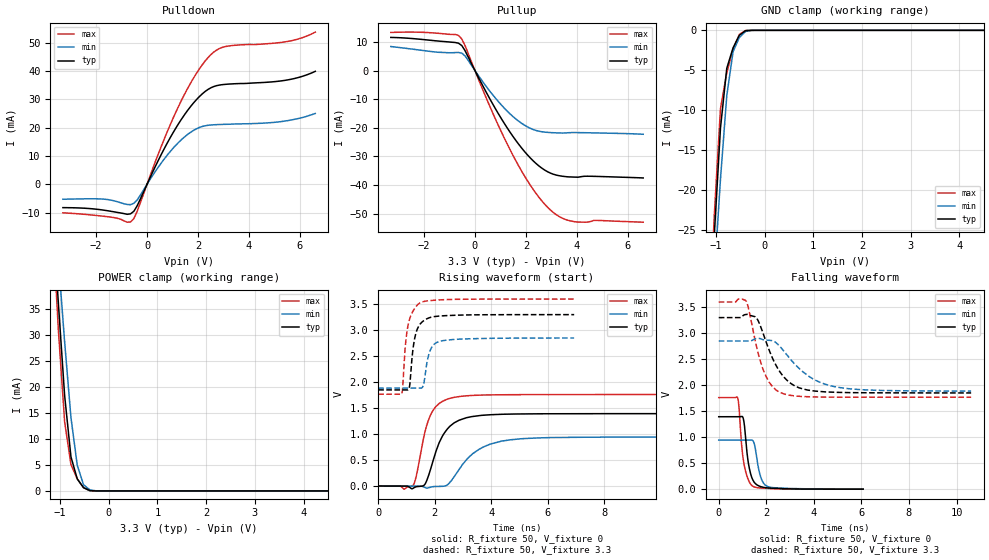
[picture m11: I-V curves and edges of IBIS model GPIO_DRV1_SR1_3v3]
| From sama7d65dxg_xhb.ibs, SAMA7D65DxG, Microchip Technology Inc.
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|   Model   GPIO_DRV1_SR1
[Model] GPIO_DRV1_SR1_3v3
Model_type I/O
Enable   Active-High
Vinl  =  1.08
Vinh  =  2.52
Vmeas =  1.800
| Capacitance   typ   min   max
C_comp   2.365439704312885e-12   2.34132786340745e-12   2.40519177882399e-12
[Model Spec]
| Subparameter   typ   min   max
Vinl   0.99   0.855   1.08
Vinh   2.31   1.995   2.52
Vmeas   1.65   1.425   1.8
| Variables   typ   min   max
[GND Clamp Reference]   0   0   0
[POWER Clamp Reference]   3.3   2.85   3.6
[Pulldown Reference]   0   0   0
[Pullup Reference]   3.3   2.85   3.6
[Temperature Range]   25   125   -40
[Voltage Range]   3.3   2.85   3.6
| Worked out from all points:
|   slope of the pulldown table from 0 to 0.495 V, typ, clamps not added: 52.6 ohm
|   slope of the pullup table from 0 to 0.495 V, typ, clamps not added: 58.6 ohm
|   GND clamp passes 1 mA (typ) near -0.55 V on its own axis
|   POWER clamp passes 1 mA (typ) near -0.55 V on its own axis
|   falling waveform, R_fixture 50, V_fixture 0: 20-80 % time 245ps typ, 252ps min, 247ps max; typ from 1.39 V to 0.001 V
|   falling waveform, R_fixture 50, V_fixture 3.3: 20-80 % time 915ps typ, 1.4ns min, 664ps max; typ from 3.3 V to 1.85 V
|   rising waveform, R_fixture 50, V_fixture 0: 20-80 % time 646ps typ, 1.04ns min, 482ps max; typ from 0 V to 1.39 V
|   rising waveform, R_fixture 50, V_fixture 3.3: 20-80 % time 227ps typ, 233ps min, 230ps max; typ from 1.85 V to 3.3 V
[GND Clamp]
| Voltage   I(typ)   I(min)   I(max)
-3.3V     -323.8mA   -277.9mA   -372.9mA
-1.164V   -41.47mA   -44.36mA   -41.44mA
-1.034V   -25.94mA   -31.12mA   -23.44mA
-905.2mV  -12.24mA   -18.67mA   -9.813mA
-775.9mV  -4.764mA   -8.198mA   -5.313mA
-646.6mV  -2.193mA   -2.686mA   -2.377mA
-517.2mV  -609.3uA   -885.9uA   -510.1uA
-387.9mV  -37.09uA   -132.5uA   -13.31uA
-129.3mV  169.8nA    -151.4nA   203.8nA
6.6V      0A         0A         0A
[POWER Clamp]
| Voltage   I(typ)   I(min)   I(max)
-3.3V     410mA      356.5mA    463.7mA
-1.164V   55.93mA    61.45mA    53.4mA
-1.034V   36.24mA    44.69mA    31.11mA
-905.2mV  18.36mA    28.7mA     13.31mA
-775.9mV  6.594mA    14.19mA    5.101mA
-646.6mV  2.317mA    4.963mA    2.328mA
-517.2mV  639.6uA    1.185mA    604.9uA
-387.9mV  64.43uA    205.8uA    31.75uA
-129.3mV  210.5nA    1.029uA    227.8nA
6.6V      0A         0A         0A
[Pulldown]
| Voltage   I(typ)   I(min)   I(max)
-3.3V     -8.229mA   -5.269mA   -10.06mA
-1.681V   -9.138mA   -5.242mA   -11.29mA
-646.6mV  -10.42mA   -7.174mA   -13.28mA
-517.2mV  -9.522mA   -6.698mA   -12.12mA
-387.9mV  -7.601mA   -5.535mA   -9.533mA
569mV     10.72mA    7.66mA     13.63mA
1.252V    21.6mA     14.91mA    27.79mA
1.934V    29.84mA    19.56mA    39.1mA
2.503V    34.05mA    20.93mA    45.75mA
3.072V    35.27mA    21.17mA    48.6mA
5.41V     36.68mA    22.33mA    50.25mA
6.6V      39.86mA    25.01mA    53.71mA
[Pullup]
| Voltage   I(typ)   I(min)   I(max)
-3.3V     11.55mA    8.373mA    13.29mA
-775.9mV  9.779mA    6.261mA    12.58mA
-517.2mV  8.723mA    6.063mA    11.03mA
682.8mV   -11.46mA   -8.323mA   -14.53mA
1.593V    -24.27mA   -16.83mA   -31.31mA
2.39V     -32.4mA    -20.91mA   -42.83mA
2.845V    -35.31mA   -21.59mA   -47.69mA
3.186V    -36.49mA   -21.75mA   -50.31mA
3.6V      -37.07mA   -21.75mA   -52.16mA
4.045V    -37.24mA   -21.67mA   -52.9mA
4.79V     -36.97mA   -21.8mA    -52.32mA
6.6V      -37.5mA    -22.25mA   -52.94mA
[Ramp]
dV/dt_r   0.836158/0.64706n  0.566253/1.03855n  1.05676/0.482178n
dV/dt_f   0.869719/0.915976n  0.57968/1.41386n  1.0992/0.664624n
R_load = 50
[Falling Waveform]
R_fixture = 50
V_fixture = 0
V_fixture_min = 0
V_fixture_max = 0
| Time   V(typ)   V(min)   V(max)
0s        1.394V     943.8mV    1.761V
795.8ps   1.393V     944.3mV    1.755V
847ps     1.393V     944.3mV    1.603V
1.046ns   1.333V     944.4mV    529.5mV
1.234ns   539.3mV    944.6mV    192.6mV
1.397ns   215.5mV    944.8mV    68.32mV
1.509ns   123.3mV    848.4mV    40.8mV
1.76ns    49.89mV    240.9mV    22.53mV
2.036ns   25.41mV    55.72mV    15mV
6.074ns   866.4uV    634.9uV    497.5uV
[Falling Waveform]
R_fixture = 50
V_fixture = 3.3
V_fixture_min = 2.85
V_fixture_max = 3.6
| Time   V(typ)   V(min)   V(max)
0s        3.3V       2.85V      3.6V
1.156ns   3.36V      2.849V     3.614V
1.257ns   3.357V     2.849V     3.468V
1.586ns   3.296V     2.898V     2.749V
1.907ns   2.944V     2.871V     2.253V
2.209ns   2.574V     2.86V      2.001V
2.736ns   2.159V     2.657V     1.832V
3.66ns    1.915V     2.214V     1.779V
4.802ns   1.864V     1.979V     1.77V
10.61ns   1.851V     1.887V     1.768V
[Rising Waveform]
R_fixture = 50
V_fixture = 0
V_fixture_min = 0
V_fixture_max = 0
| Time   V(typ)   V(min)   V(max)
0s        41.04nV    232.8nV    78.25nV
1.244ns   -41.24mV   -362.6uV   18.32mV
1.365ns   -12.69mV   -398uV     235.3mV
1.626ns   15.86mV    -22.24mV   976.9mV
1.837ns   296.4mV    -23.36mV   1.35V
2.165ns   843.5mV    -8.851mV   1.592V
2.539ns   1.152V     71.88mV    1.688V
3.353ns   1.339V     626.3mV    1.745V
4.639ns   1.385V     887.5mV    1.758V
13.53ns   1.393V     943.2mV    1.761V
[Rising Waveform]
R_fixture = 50
V_fixture = 3.3
V_fixture_min = 2.85
V_fixture_max = 3.6
| Time   V(typ)   V(min)   V(max)
0s        1.85V      1.884V     1.768V
834.3ps   1.85V      1.883V     1.776V
1.052ns   1.85V      1.883V     3.086V
1.115ns   1.942V     1.883V     3.223V
1.273ns   2.793V     1.883V     3.406V
1.479ns   3.116V     1.883V     3.526V
1.601ns   3.18V      1.948V     3.551V
1.845ns   3.246V     2.618V     3.571V
2.16ns    3.272V     2.783V     3.583V
6.931ns   3.3V       2.85V      3.599V
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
